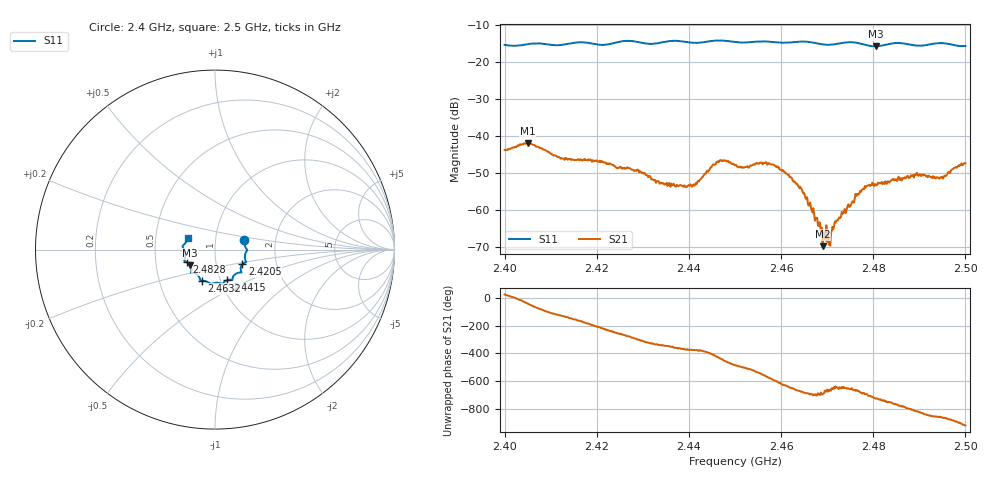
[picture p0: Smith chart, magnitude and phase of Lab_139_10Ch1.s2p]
# Hz S RI R 50
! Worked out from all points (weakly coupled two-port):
!   601 points, 2.4 GHz to 2.5 GHz, reference 50 ohm
!   highest |S21| = -41.97 dB at 2.405 GHz (marker M1); lowest = -69.9 dB at 2.469 GHz (marker M2)
!   lowest |S11| = -15.7 dB at 2.4805 GHz (marker M3), VSWR 1.39, Z = 37.3 - j6.7 ohm
!   |S11| at or under -10 dB: start of sweep to end of sweep
!   S12 and S22 are empty: the file has one direction only
!   S11 on the Smith chart (normalised r, x): 2.4 GHz: 1.38, +0.15; 2.4205 GHz: 1.34, -0.23; 2.4415 GHz: 1.07, -0.38; 2.4632 GHz: 0.82, -0.29; 2.4828 GHz: 0.72, -0.10; 2.5 GHz: 0.73, +0.10
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2.4e9  0.1636 0.0516  0.00597 0.0025  0 0  0 0
2.405e9  0.1756 0.00431  0.00586 -0.0054  0 0  0 0
2.4125e9  0.1664 -0.0426  -0.00323 -0.00373  0 0  0 0
2.416667e9  0.173 -0.0698  -0.00464 -0.00082  0 0  0 0
2.4205e9  0.1519 -0.0818  -0.00381 0.0023  0 0  0 0
2.433333e9  0.1004 -0.1513  0.0023 0.00083  0 0  0 0
2.4415e9  0.0656 -0.1708  0.00222 -0.000639  0 0  0 0
2.4465e9  0.0406 -0.1929  0.00142 -0.00419  0 0  0 0
2.45e9  0.0243 -0.1862  -0.00221 -0.00333  0 0  0 0
2.457833e9  -0.0306 -0.1863  -0.00307 0.00275  0 0  0 0
2.463167e9  -0.0732 -0.174  0.00122 0.00198  0 0  0 0
2.466667e9  -0.0821 -0.1669  0.000913 0.000425  0 0  0 0
2.469e9  -0.091 -0.1491  0.000289 0.000139  0 0  0 0
2.4705e9  -0.1037 -0.1377  0.000231 0.000284  0 0  0 0
2.472167e9  -0.1199 -0.1308  0.000183 0.000692  0 0  0 0
2.476667e9  -0.1324 -0.1249  0.00105 0.00123  0 0  0 0
2.4805e9  -0.139 -0.0874  0.0022 -0.000145  0 0  0 0
2.482833e9  -0.1587 -0.0701  0.00218 -0.000961  0 0  0 0
2.483333e9  -0.1625 -0.068  0.00213 -0.00112  0 0  0 0
2.489667e9  -0.1654 -0.0267  -0.000387 -0.00292  0 0  0 0
2.494833e9  -0.1806 0.0186  -0.00205 -0.00178  0 0  0 0
2.5e9  -0.1528 0.0644  -0.00408 0.00127  0 0  0 0
